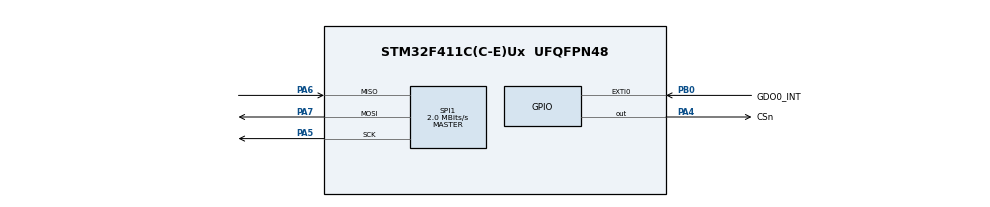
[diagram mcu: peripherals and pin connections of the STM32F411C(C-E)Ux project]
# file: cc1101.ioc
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Mcu.Family=STM32F4
Mcu.Name=STM32F411C(C-E)Ux
Mcu.Package=UFQFPN48
NVIC.EXTI0_IRQn=true\:0\:0\:false\:false\:true\:true\:true\:true
NVIC.PriorityGroup=NVIC_PRIORITYGROUP_4
PA4.GPIO_Label=CSn
PA4.Signal=GPIO_Output
PA5.Mode=Full_Duplex_Master
PA5.Signal=SPI1_SCK
PA6.Mode=Full_Duplex_Master
PA6.Signal=SPI1_MISO
PA7.Mode=Full_Duplex_Master
PA7.Signal=SPI1_MOSI
PB0.GPIO_Label=GDO0_INT
PB0.GPIO_PuPd=GPIO_PULLUP
PB0.Signal=GPXTI0
PH0\ -\ OSC_IN.Mode=HSE-External-Oscillator
PH0\ -\ OSC_IN.Signal=RCC_OSC_IN
PH1\ -\ OSC_OUT.Mode=HSE-External-Oscillator
PH1\ -\ OSC_OUT.Signal=RCC_OSC_OUT
ProjectManager.HeapSize=0x200
ProjectManager.StackSize=0x400
ProjectManager.TargetToolchain=STM32CubeIDE
RCC.48MHZClocksFreq_Value=32000000
RCC.AHBCLKDivider=RCC_SYSCLK_DIV2
RCC.AHBFreq_Value=32000000
RCC.APB1Freq_Value=32000000
RCC.APB1TimFreq_Value=32000000
RCC.APB2Freq_Value=32000000
RCC.APB2TimFreq_Value=32000000
RCC.CortexFreq_Value=32000000
RCC.HCLKFreq_Value=32000000
RCC.HSE_VALUE=25000000
RCC.HSI_VALUE=16000000
RCC.LSE_VALUE=32768
RCC.PLLM=8
RCC.PLLN=64
RCC.SYSCLKFreq_VALUE=64000000
RCC.SYSCLKSource=RCC_SYSCLKSOURCE_PLLCLK
RCC.VCOOutputFreq_Value=128000000
SPI1.BaudRatePrescaler=SPI_BAUDRATEPRESCALER_16
SPI1.CalculateBaudRate=2.0 MBits/s
SPI1.Direction=SPI_DIRECTION_2LINES
SPI1.FirstBit=SPI_FIRSTBIT_MSB
SPI1.Mode=SPI_MODE_MASTER
SPI1.VirtualType=VM_MASTER
TIM1.AutoReloadPreload=TIM_AUTORELOAD_PRELOAD_ENABLE
TIM1.Period=31999
TIM1.Prescaler=999
VP_TIM1_VS_ClockSourceINT.Mode=Internal
board=custom

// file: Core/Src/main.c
/* USER CODE BEGIN Header */
/**
  ******************************************************************************
  * @file           : main.c
  * @brief          : Main program body
  ******************************************************************************
  * @attention
  *
  * Copyright (c) 2024 STMicroelectronics.
  * All rights reserved.
  *
  * This software is licensed under terms that can be found in the LICENSE file
  * in the root directory of this software component.
  * If no LICENSE file comes with this software, it is provided AS-IS.
  *
  ******************************************************************************
  */
/* USER CODE END Header */
#include "main.h"
#include "spi.h"
#include "tim.h"
#include "gpio.h"

/* USER CODE BEGIN Includes */
#include "rf_driver.h"
/* USER CODE END Includes */

/* USER CODE BEGIN PV */
		uint8_t data_tx[20] = "CC1101 Packet";
//		uint8_t check1[16];
		FRAMESTATUS_TypeDef a;
		uint8_t byte;
		uint8_t rx_buffer[20];
		uint16_t max = 20;
		uint8_t checklqi;
		int  rssi_dBm;
		uint8_t	checkrssi;
	    int rssi_dec;
	    uint8_t hehe;

/* USER CODE END PV */

void SystemClock_Config(void);

int main(void)
{

  /* MCU Configuration--------------------------------------------------------*/

  /* Reset of all peripherals, Initializes the Flash interface and the Systick. */

  LL_APB2_GRP1_EnableClock(LL_APB2_GRP1_PERIPH_SYSCFG);
  LL_APB1_GRP1_EnableClock(LL_APB1_GRP1_PERIPH_PWR);

  NVIC_SetPriorityGrouping(NVIC_PRIORITYGROUP_4);

  /* System interrupt init*/

  /* Configure the system clock */
  SystemClock_Config();

  /* Initialize all configured peripherals */
  MX_GPIO_Init();
  MX_SPI1_Init();
  MX_TIM1_Init();
  /* USER CODE BEGIN 2 */
  //HAL_SPI_Init(&hspi1);
  LL_TIM_EnableCounter(TIM1);
  LL_SPI_Enable(SPI1);
  //HAL_Delay(100);
  LL_mDelay(100);
  rf_begin(SPI1,GFSK_1_2_kb, MHz434, GPIOA, LL_GPIO_PIN_4, LL_GPIO_PIN_0);
  a = send_frame( (uint8_t*) data_tx, sizeof(data_tx));
  /* USER CODE END 2 */

  /* Infinite loop */
  while (1)
  {

    /* USER CODE BEGIN 3 */
	  rf_begin(SPI1, GFSK_1_2_kb, MHz434, GPIOA, LL_GPIO_PIN_4, LL_GPIO_PIN_0);
//         hehe = rf_read_register(VERSION);
        // LL_mDelay(1);
	//  LL_SPI_TransmitData8(SPI1, VERSION);
	 // LL_GPIO_ResetOutputPin(GPIOA, LL_GPIO_PIN_7);

		a = send_frame( (uint8_t*) data_tx, sizeof(data_tx));

		//rf_receive();
	 	//receive_frame_test(rx_buffer,20);
////		receive_frame(rx_buffer,&max,0,20,&checklqi,&checkrssi);
//	    rssi_dec = rf_read_register(RSSI);
//	 	uint8_t rssi_offset = 74;
//	 if(rssi_dec >= 128)
//	 		   rssi_dBm = ((rssi_dec - 256) / 2) - rssi_offset;
//	    else
//	 		    rssi_dBm = (rssi_dec / 2) - rssi_offset;

  }
  /* USER CODE END 3 */
}

void SystemClock_Config(void)
{
  LL_FLASH_SetLatency(LL_FLASH_LATENCY_1);
  while(LL_FLASH_GetLatency()!= LL_FLASH_LATENCY_1)
  {
  }
  LL_PWR_SetRegulVoltageScaling(LL_PWR_REGU_VOLTAGE_SCALE1);
  LL_RCC_HSI_SetCalibTrimming(16);
  LL_RCC_HSI_Enable();

   /* Wait till HSI is ready */
  while(LL_RCC_HSI_IsReady() != 1)
  {

  }
  LL_RCC_PLL_ConfigDomain_SYS(LL_RCC_PLLSOURCE_HSI, LL_RCC_PLLM_DIV_8, 64, LL_RCC_PLLP_DIV_2);
  LL_RCC_PLL_Enable();

   /* Wait till PLL is ready */
  while(LL_RCC_PLL_IsReady() != 1)
  {

  }
  LL_RCC_SetAHBPrescaler(LL_RCC_SYSCLK_DIV_2);
  LL_RCC_SetAPB1Prescaler(LL_RCC_APB1_DIV_1);
  LL_RCC_SetAPB2Prescaler(LL_RCC_APB2_DIV_1);
  LL_RCC_SetSysClkSource(LL_RCC_SYS_CLKSOURCE_PLL);

   /* Wait till System clock is ready */
  while(LL_RCC_GetSysClkSource() != LL_RCC_SYS_CLKSOURCE_STATUS_PLL)
  {

  }
  LL_Init1msTick(32000000);
  LL_SetSystemCoreClock(32000000);
  LL_RCC_SetTIMPrescaler(LL_RCC_TIM_PRESCALER_TWICE);
}

void Error_Handler(void)
{
  __disable_irq();
  while (1)
  {
  }
}

/************************ (C) COPYRIGHT STMicroelectronics *****END OF FILE****/
